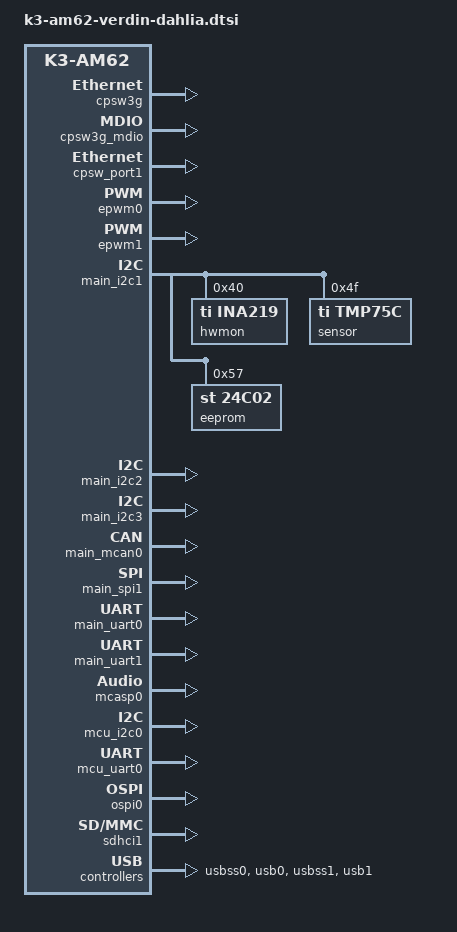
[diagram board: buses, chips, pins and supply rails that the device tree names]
// SPDX-License-Identifier: GPL-2.0-or-later OR MIT
/*
 * Copyright 2023 Toradex
 *
 * Common dtsi for Verdin AM62 SoM on Dahlia carrier board
 *
 * https://www.toradex.com/computer-on-modules/verdin-arm-family/ti-am62
 * https://www.toradex.com/products/carrier-board/dahlia-carrier-board-kit
 */

/* Verdin ETHs */
&cpsw3g {
	status = "okay";
};

/* MDIO, shared by Verdin ETH_1 (On-module PHY) and Verdin ETH_2_RGMII */
&cpsw3g_mdio {
	status = "okay";
};

/* Verdin ETH_1 (On-module PHY) */
&cpsw_port1 {
	status = "okay";
};

/* Verdin PWM_1, PWM_2 */
&epwm0 {
	status = "okay";
};

/* Verdin PWM_3_DSI */
&epwm1 {
	status = "okay";
};

&main_gpio0 {
	pinctrl-names = "default";
	pinctrl-0 = <&pinctrl_ctrl_sleep_moci>,
		    <&pinctrl_gpio_5>,
		    <&pinctrl_gpio_6>,
		    <&pinctrl_gpio_7>,
		    <&pinctrl_gpio_8>;
};

/* Verdin I2C_1 */
&main_i2c1 {
	status = "okay";

	/* Current measurement into module VCC */
	hwmon@40 {
		compatible = "ti,ina219";
		reg = <0x40>;
		shunt-resistor = <10000>;
	};

	/* Temperature sensor */
	sensor@4f {
		compatible = "ti,tmp75c";
		reg = <0x4f>;
	};

	/* EEPROM */
	eeprom@57 {
		compatible = "st,24c02";
		reg = <0x57>;
		pagesize = <16>;
	};
};

/* Verdin I2C_2_DSI */
&main_i2c2 {
	status = "okay";
};

/* Verdin I2C_4_CSI */
&main_i2c3 {
	status = "okay";
};

/* Verdin CAN_1 */
&main_mcan0 {
	status = "okay";
};

/* Verdin SPI_1 */
&main_spi1 {
	status = "okay";
};

/* Verdin UART_3 */
&main_uart0 {
	status = "okay";
};

/* Verdin UART_1 */
&main_uart1 {
	status = "okay";
};

/* Verdin I2S_1 */
&mcasp0 {
	status = "okay";
};

&mcu_gpio0 {
	pinctrl-names = "default";
	pinctrl-0 = <&pinctrl_gpio_1>,
		    <&pinctrl_gpio_2>,
		    <&pinctrl_gpio_3>,
		    <&pinctrl_gpio_4>;
};

/* Verdin I2C_3_HDMI */
&mcu_i2c0 {
	status = "okay";
};

/* Verdin UART_4 */
&mcu_uart0 {
	status = "okay";
};

/* Verdin QSPI_1 */
&ospi0 {
	status = "okay";
};

/* Verdin SD_1 */
&sdhci1 {
	ti,driver-strength-ohm = <33>;
	status = "okay";
};

/* Verdin USB_1 */
&usbss0 {
	status = "okay";
};

&usb0 {
	status = "okay";
};

/* Verdin USB_2 */
&usbss1 {
	status = "okay";
};

&usb1 {
	status = "okay";
};

/* Verdin CTRL_WAKE1_MICO# */
&verdin_gpio_keys {
	status = "okay";
};

/* Verdin UART_2 */
&wkup_uart0 {
	/* FIXME: WKUP UART0 is used by DM firmware */
	status = "reserved";
};
